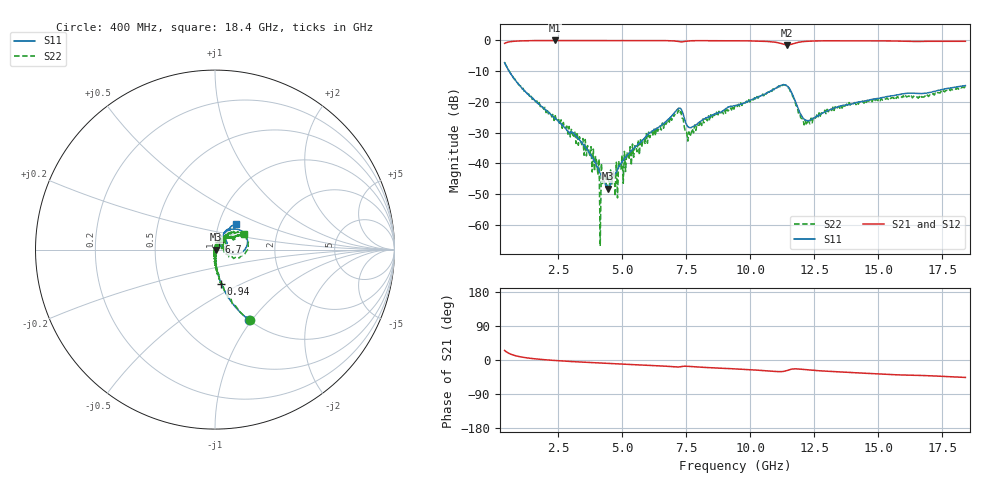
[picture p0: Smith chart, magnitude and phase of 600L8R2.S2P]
!  American Technical Ceramics  Date:  10/27/06
!  One Norden Lane
!  Huntington Station,  NY.  11746-2102
!  Tel:  (631) 622-4700  Fax:  (631) 622-4748
!  Part Number  600L8R2
!  Description: Ultra Low ESR Microwave capacitors
!  Application: Coupling, Bypass, Tuning, DC Block
!  Filters, Matching
# GHZ S DB R 50
! Freq  |S11|  S11 Ph  |S21|  S21 Ph  |S12|  S12 Ph  |S22|  S22 Ph
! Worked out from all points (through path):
!   401 points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, 400 MHz to 18.4 GHz, reference 50 ohm
!   highest |S21| = -0.04 dB at 2.38 GHz (marker M1); lowest = -1.5 dB at 11.43 GHz (marker M2)
!   group delay of S21, straight-line fit = 7.96 ps
!   lowest |S11| = -48.2 dB at 4.45 GHz (marker M3), VSWR 1.01, Z = 50.4 - j0.0394 ohm
!   |S11| at or under -10 dB: 574.5 MHz to end of sweep
!   |S22| runs from -66.9 to -7.2 dB; largest |S21 - S12| = 0.0056
!   S11 on the Smith chart (normalised r, x): 400 MHz: 1.00, -0.96; 940 MHz: 0.99, -0.39; 6.7 GHz: 1.04, +0.09; 18.4 GHz: 1.21, +0.35
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0.4  -7.25 -64.3  -0.98 25.0  -0.96 24.9  -7.16 -63.4
0.94  -14.23 -79.7  -0.21 9.4  -0.18 9.4  -14.26 -77.9
2.38  -25.40 -86.8  -0.04 -1.4  -0.03 -1.4  -24.48 -92.6
3.415  -33.16 -85.9  -0.05 -5.6  -0.03 -5.6  -33.90 -107.3
4  -41.03 -69.8  -0.05 -7.6  -0.03 -7.7  -39.40 -66.0
4.045  -41.21 -70.0  -0.05 -7.7  -0.03 -7.8  -43.70 -143.0
4.135  -43.23 -61.3  -0.04 -8.0  -0.03 -8.1  -66.89 145.5
4.225  -44.90 -51.4  -0.05 -8.3  -0.03 -8.4  -46.52 -12.2
4.27  -45.58 -45.9  -0.05 -8.5  -0.03 -8.6  -43.29 -147.0
4.45  -48.16 -5.7  -0.05 -9.1  -0.04 -9.2  -44.95 74.6
4.72  -43.23 34.4  -0.05 -10.0  -0.04 -10.1  -50.65 -33.8
5.17  -37.46 57.3  -0.06 -11.4  -0.05 -11.5  -36.36 54.4
6.43  -28.13 65.3  -0.08 -15.4  -0.08 -15.6  -28.59 59.4
6.7  -26.41 64.8  -0.10 -16.4  -0.11 -16.6  -27.32 69.8
7.195  -22.08 43.5  -0.39 -18.4  -0.40 -18.6  -22.64 37.1
7.6  -28.30 32.3  -0.20 -16.9  -0.21 -17.1  -29.73 34.0
9.4  -21.25 61.5  -0.14 -23.4  -0.16 -23.7  -21.18 50.6
11.425  -14.75 9.8  -1.48 -27.9  -1.48 -27.9  -14.70 1.0
12.01  -24.63 -1.4  -0.46 -24.6  -0.47 -24.7  -25.45 -15.8
12.415  -25.55 37.2  -0.23 -27.1  -0.24 -27.1  -26.82 34.1
15.43  -18.16 59.5  -0.20 -38.1  -0.22 -38.0  -18.60 36.3
18.4  -14.71 50.6  -0.32 -46.0  -0.35 -45.9  -14.86 28.1
